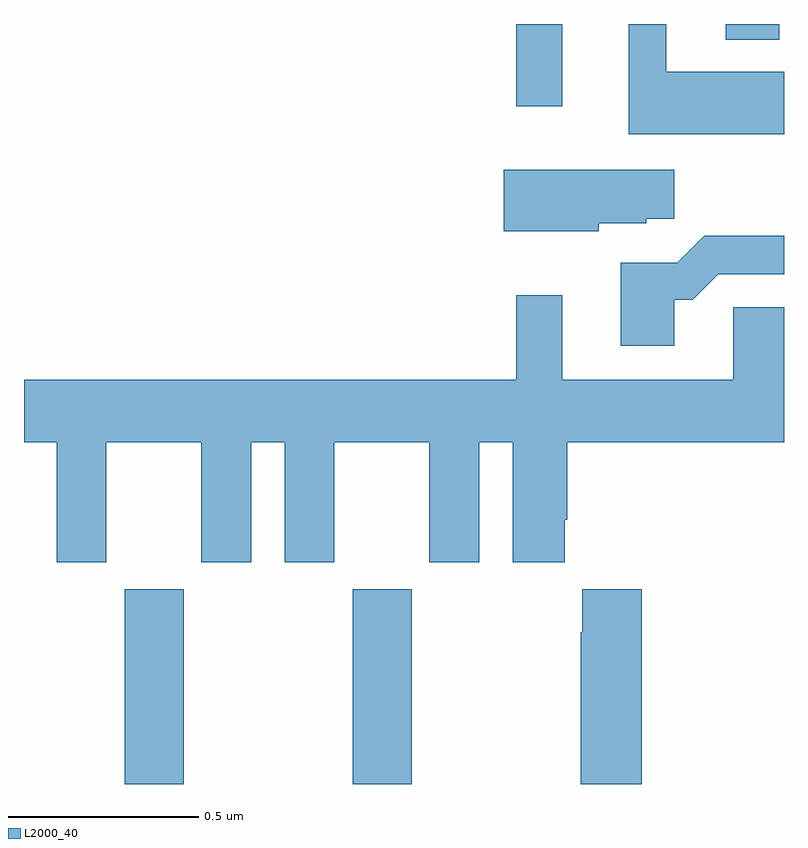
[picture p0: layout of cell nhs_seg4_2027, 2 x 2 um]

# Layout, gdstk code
import gdstk
lib = gdstk.Library(unit=1e-6, precision=1e-09)
def R(c, l, rs):  # rectangles x0, y0, x1, y1
    for r in rs: c.add(gdstk.rectangle(r[:2], r[2:], *l))
def P(c, l, *ps):  # polygons
    for p in ps: c.add(gdstk.Polygon(p, *l))
L2000_40 = (2000, 40)

nhs_seg4_2027 = lib.new_cell('nhs_seg4_2027')
R(nhs_seg4_2027, L2000_40, [(135.265,815.9,135.42,816.412), (135.865,815.9,136.02,816.412), (136.296,817.683,136.417,817.9), (136.847,817.859,136.987,817.9)])
P(nhs_seg4_2027, L2000_40, [(137,817.774),(136.69,817.774),(136.69,817.9),(136.592,817.9),(136.592,817.61),(137,817.61)],
  [(136.512,817.376),(136.638,817.376),(136.638,817.387),(136.711,817.387),(136.711,817.516),(136.262,817.516),(136.262,817.355),(136.512,817.355)],
  [(136.711,817.175),(136.76,817.175),(136.827,817.242),(137,817.242),(137,817.343),(136.79,817.343),(136.719,817.272),(136.571,817.272),(136.571,817.053),(136.711,817.053)],
  [(135.217,816.8),(135.467,816.8),(135.467,816.483),(135.598,816.483),(135.598,816.8),(135.686,816.8),(135.686,816.483),(135.817,816.483),(135.817,816.8),(136.067,816.8),(136.067,816.483),(136.198,816.483),(136.198,816.8),(136.286,816.8),(136.286,816.483),(136.423,816.483),(136.423,816.595),(136.43,816.595),(136.43,816.8),(137,816.8),(137,817.154),(136.866,817.154),(136.866,816.964),(136.417,816.964),(136.417,817.186),(136.296,817.186),(136.296,816.964),(135,816.964),(135,816.8),(135.086,816.8),(135.086,816.483),(135.217,816.483)],
  [(136.625,816.412),(136.469,816.412),(136.469,816.299),(136.465,816.299),(136.465,815.9),(136.625,815.9)])

lib.write_gds('nhs_seg4_2027.gds')
